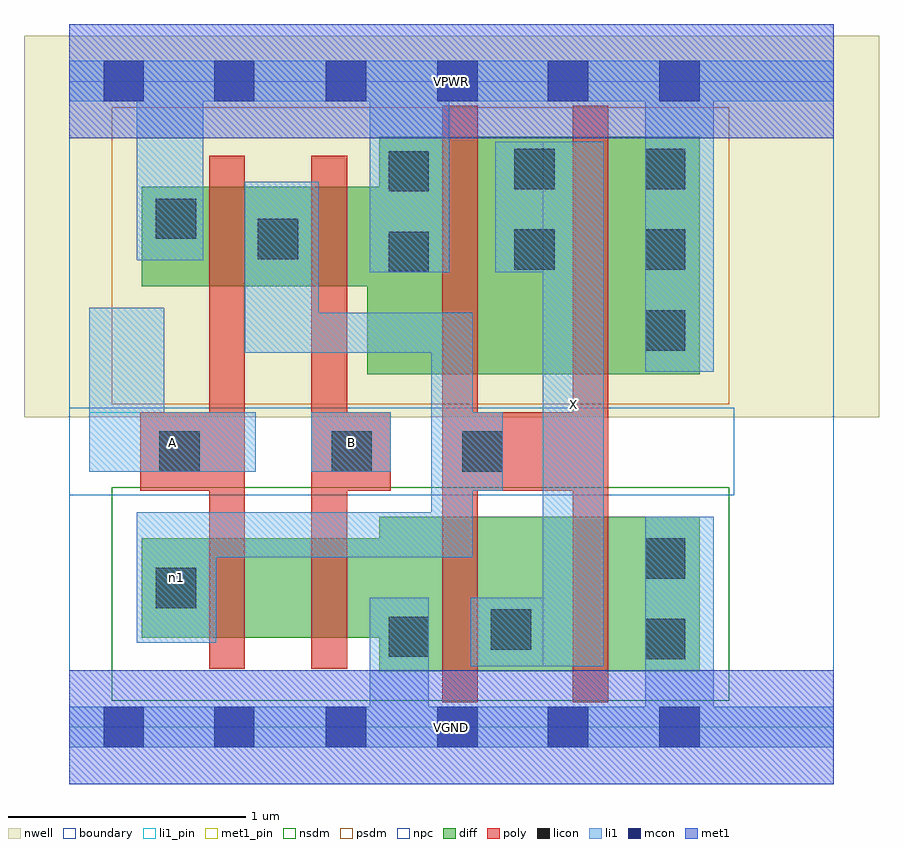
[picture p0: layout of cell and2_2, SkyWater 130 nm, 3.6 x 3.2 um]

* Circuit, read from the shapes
.subckt and2_2 A B VGND VPWR X n1
XM1 n2 A n1 VSUBS sky130_fd_pr__nfet_01v8 w=0.42 l=0.15
XM2 VGND B n2 VSUBS sky130_fd_pr__nfet_01v8 w=0.42 l=0.15
XM3 X n1 VGND VSUBS sky130_fd_pr__nfet_01v8 w=0.65 l=0.15 m=2
XM4 n1 A VPWR n3 sky130_fd_pr__pfet_01v8 w=0.42 l=0.15
XM5 VPWR B n1 n3 sky130_fd_pr__pfet_01v8 w=0.42 l=0.15
XM6 X n1 VPWR n3 sky130_fd_pr__pfet_01v8 w=1 l=0.15 m=2
.ends

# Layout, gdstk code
import gdstk
lib = gdstk.Library(unit=1e-6, precision=1e-09)
def R(c, l, rs):  # rectangles x0, y0, x1, y1
    for r in rs: c.add(gdstk.rectangle(r[:2], r[2:], *l))
def A(c, l, x, y, w, h, nx, ny, dx, dy):  # array of equal rectangles
    R(c, l, [(x+i*dx, y+j*dy, x+i*dx+w, y+j*dy+h) for i in range(nx) for j in range(ny)])
nwell = (64, 20)
diff = (65, 20)
poly = (66, 20)
licon = (66, 44)
li1_pin = (67, 16)
li1 = (67, 20)
mcon = (67, 44)
met1_pin = (68, 16)
met1 = (68, 20)
nsdm = (93, 44)
psdm = (94, 20)
npc = (95, 20)
boundary = (235, 4)

and2_2 = lib.new_cell('and2_2')
R(and2_2, nwell, [(-0.19,1.305,3.41,2.91), (0,1.305,3.22,2.91)])
R(and2_2, diff, [(1.305,0.235,2.655,0.885), (0.305,0.375,2.655,0.795), (1.255,1.485,2.655,2.275), (1.305,1.485,2.655,2.485), (0.305,1.855,2.655,2.275)])
R(and2_2, poly, [(1.57,0.105,1.72,2.615), (2.12,0.105,2.27,2.615), (0.59,0.245,0.74,2.405), (1.02,0.245,1.17,2.405), (0.3,0.995,0.74,1.325), (1.02,0.995,1.355,1.325), (1.57,0.995,2.27,1.325)])
A(and2_2, licon, 2.425, 1.585, 0.17, 0.17, 1, 3, 0, 0.34)
R(and2_2, licon, [(2.425,0.285,2.595,0.455), (1.345,0.295,1.515,0.465), (1.775,0.325,1.945,0.495), (0.365,0.5,0.535,0.67), (2.425,0.625,2.595,0.795), (0.38,1.075,0.55,1.245), (1.105,1.075,1.275,1.245), (1.655,1.075,1.825,1.245), (1.345,1.915,1.515,2.085), (1.875,1.925,2.045,2.095), (0.795,1.97,0.965,2.14), (0.365,2.055,0.535,2.225), (1.345,2.255,1.515,2.425), (1.875,2.265,2.045,2.435)])
R(and2_2, li1_pin, [(1.995,0.255,2.25,2.465), (0.085,1.075,0.785,1.325), (1.02,1.075,1.355,1.325)])
R(and2_2, li1, [(0,-0.085,3.22,0.085), (1.265,-0.085,1.515,0.545), (2.425,-0.085,2.715,0.885), (1.69,0.255,2.25,0.545), (1.995,0.255,2.25,2.465), (0.285,0.355,0.62,0.905), (0.285,0.715,1.7,0.905), (1.525,0.715,1.7,1.745), (1.525,0.995,1.825,1.325), (0.085,1.075,0.4,1.765), (0.085,1.075,0.785,1.325), (1.02,1.075,1.355,1.325), (2.425,1.495,2.715,2.805), (0.74,1.575,1.05,2.295), (0.74,1.575,1.7,1.745), (1.265,1.915,1.6,2.805), (1.795,1.915,2.25,2.465), (0.285,1.965,0.565,2.805), (0,2.635,3.22,2.805)])
A(and2_2, mcon, 0.61, -0.085, 0.17, 0.17, 3, 2, 0.47, 2.72)
R(and2_2, mcon, [(0.145,-0.085,0.315,0.085), (2.015,-0.085,2.185,0.085), (2.485,-0.085,2.655,0.085), (0.145,2.635,0.315,2.805), (2.015,2.635,2.185,2.805), (2.485,2.635,2.655,2.805)])
R(and2_2, met1_pin, [(0,-0.24,3.22,0.24), (0,2.48,3.22,2.96)])
R(and2_2, met1, [(0,-0.24,3.22,0.24), (0,2.48,3.22,2.96)])
R(and2_2, nsdm, [(0.18,0.11,2.78,1.01)])
R(and2_2, psdm, [(0.18,1.36,2.78,2.61)])
R(and2_2, npc, [(0,0.975,2.8,1.345)])
R(and2_2, boundary, [(0,0,3.22,2.72)])
and2_2.add(gdstk.Label('A', (0.435,1.2), layer=67, texttype=5))
and2_2.add(gdstk.Label('B', (1.187,1.2), layer=67, texttype=5))
and2_2.add(gdstk.Label('X', (2.122,1.36), layer=67, texttype=5))
and2_2.add(gdstk.Label('n1', (0.452,0.63), layer=67, texttype=5))
and2_2.add(gdstk.Label('VPWR', (1.61,2.72), layer=68, texttype=5))
and2_2.add(gdstk.Label('VGND', (1.61,0), layer=68, texttype=5))
and2_2.add(gdstk.Label('A', (0.435,1.2), layer=67, texttype=16))
and2_2.add(gdstk.Label('B', (1.187,1.2), layer=67, texttype=16))
and2_2.add(gdstk.Label('X', (2.122,1.36), layer=67, texttype=16))
and2_2.add(gdstk.Label('VPWR', (1.61,2.72), layer=68, texttype=16))
and2_2.add(gdstk.Label('VGND', (1.61,0), layer=68, texttype=16))

lib.write_gds('and2_2.gds')
